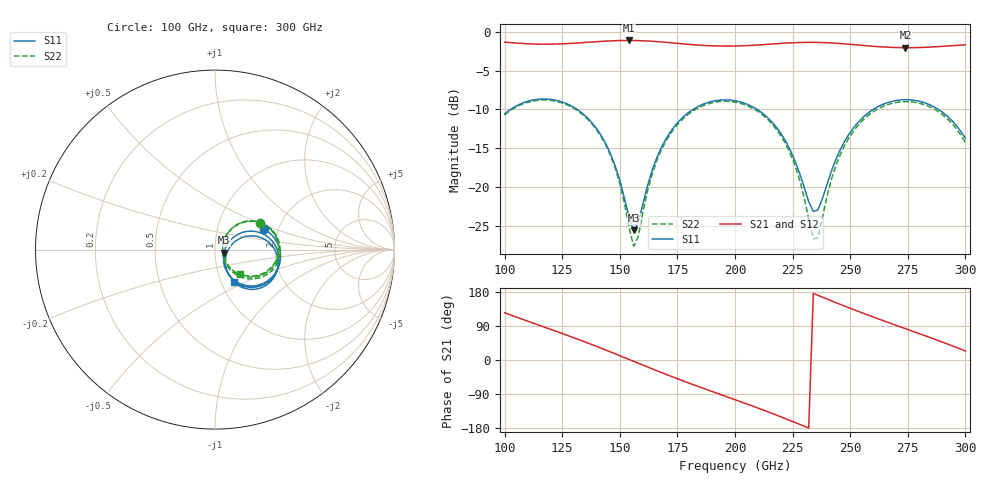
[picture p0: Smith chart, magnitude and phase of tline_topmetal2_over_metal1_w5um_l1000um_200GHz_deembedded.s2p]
! Created with skrf 2.0.1 (http://scikit-rf.org).
# GHz S DB R 50.0
!freq dBS11 angS11 dBS21 angS21 dBS12 angS12 dBS22 angS22
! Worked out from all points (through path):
!   101 points, 100 GHz to 300 GHz, reference 50 ohm
!   highest |S21| = -1.11 dB at 154 GHz (marker M1); lowest = -2.0 dB at 274 GHz (marker M2)
!   group delay of S21, straight-line fit = 6.44 ps
!   lowest |S11| = -25.6 dB at 156 GHz (marker M3), VSWR 1.11, Z = 55.2 - j1.86 ohm
!   |S11| at or under -10 dB: 131.5 GHz to 181.8 GHz (50.33 GHz wide, 32.1 % of centre); 209.6 GHz to 260 GHz (50.42 GHz wide, 21.5 % of centre); 288.3 GHz to end of sweep (the widest 3 of 4)
!   |S22| runs from -27.6 to -8.8 dB; largest |S21 - S12| = 1.5e-13
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100  -10.58 22.4  -1.33 124.7  -1.33 124.7  -10.71 31.1
118  -8.66 -12.5  -1.59 85.2  -1.59 85.2  -8.79 -2.7
134  -10.56 -43.0  -1.40 49.7  -1.40 49.7  -10.70 -32.9
146  -15.75 -61.2  -1.17 21.2  -1.17 21.2  -15.98 -52.0
150  -19.16 -60.7  -1.13 11.4  -1.13 11.4  -19.57 -53.0
154  -23.93 -42.9  -1.11 1.5  -1.11 1.5  -25.19 -36.9
156  -25.57 -18.6  -1.12 -3.5  -1.12 -3.5  -27.63 -8.1
168  -14.93 32.2  -1.31 -32.9  -1.31 -32.9  -15.25 49.4
184  -9.62 6.2  -1.71 -69.8  -1.71 -69.8  -9.81 22.4
200  -8.88 -23.4  -1.83 -104.7  -1.83 -104.7  -9.06 -7.4
212  -10.50 -44.9  -1.66 -131.5  -1.66 -131.5  -10.71 -29.7
222  -14.12 -59.2  -1.46 -154.9  -1.46 -154.9  -14.47 -46.3
228  -18.20 -59.1  -1.38 -169.6  -1.38 -169.6  -19.03 -50.0
234  -23.15 -26.4  -1.36 175.6  -1.36 175.6  -26.71 -14.2
236  -22.96 -5.8  -1.37 170.6  -1.37 170.6  -26.55 19.0
242  -17.82 22.9  -1.44 155.8  -1.44 155.8  -18.87 52.2
248  -13.90 22.1  -1.57 141.3  -1.57 141.3  -14.41 48.3
258  -10.41 7.9  -1.82 118.0  -1.82 118.0  -10.72 31.8
268  -8.97 -9.3  -2.01 95.8  -2.01 95.8  -9.23 13.3
274  -8.75 -19.9  -2.05 82.7  -2.05 82.7  -9.00 2.1
288  -9.95 -43.8  -1.91 51.8  -1.91 51.8  -10.23 -24.0
300  -13.72 -59.6  -1.67 23.8  -1.67 23.8  -14.28 -44.4
